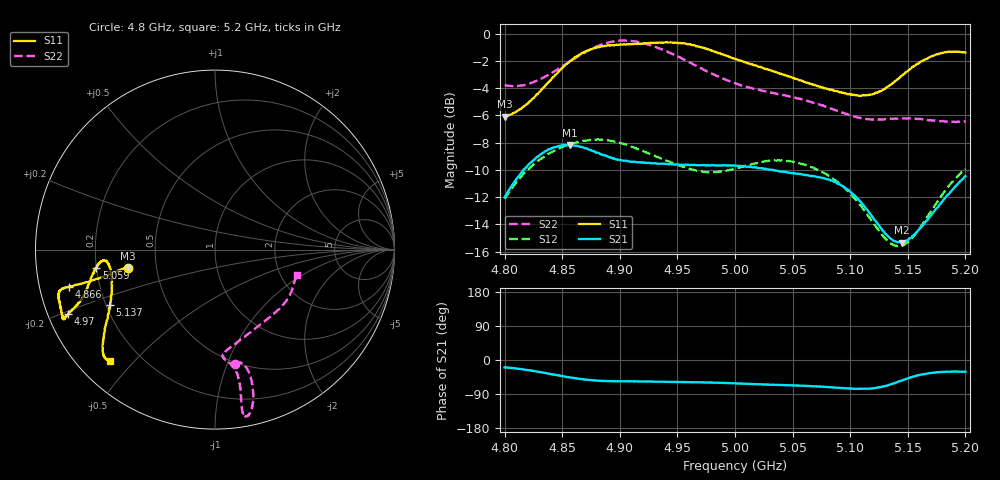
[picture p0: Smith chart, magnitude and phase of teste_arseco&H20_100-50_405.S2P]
! Network Analyzer HP8722D
! Hewlett-Packard
! Data name: Linha & Wilkinson
! Saver's name: Rodrigo Anjos
! Comments: Teste da utilização de aquisição
! continua pelo VNA HP8722D
! Time and date: 6/5/2025 15:56
!  Frequency  S11  S21  S12  S22
# HZ  S  MA R 50
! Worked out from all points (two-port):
!   401 points, 4.8 GHz to 5.2 GHz, reference 50 ohm
!   highest |S21| = -8.17 dB at 4.857 GHz (marker M1); lowest = -15.3 dB at 5.145 GHz (marker M2)
!   |S21| within 3 dB of the highest: 4.806 GHz to 5.093 GHz (286.7 MHz wide, 5.79 % of centre); 5.191866 GHz to end of sweep
!   lowest |S11| = -6.1 dB at 4.8 GHz (marker M3), VSWR 2.97, Z = 17 - j4.61 ohm
!   |S11| at or under -10 dB: nowhere
!   |S22| runs from -6.5 to -0.5 dB; largest |S21 - S12| = 0.62
!   S11 on the Smith chart (normalised r, x): 4.8 GHz: 0.34, -0.09; 4.866 GHz: 0.09, -0.12; 4.97 GHz: 0.06, -0.21; 5.059 GHz: 0.20, -0.07; 5.137 GHz: 0.22, -0.24; 5.2 GHz: 0.09, -0.43
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4.8e9  0.4958 -168.1  0.2506 -19.5  0.2478 -140.7  0.6466 -80.2
4.828e9  0.5993 -167.0  0.3529 -30.3  0.3387 -144.6  0.6736 -75.4
4.857e9  0.7951 -165.7  0.3904 -46.1  0.3929 -150.0  0.7924 -74.6
4.866e9  0.8423 -165.7  0.3841 -50.1  0.4027 -151.6  0.8364 -75.2
4.867e9  0.8487 -165.8  0.3841 -50.6  0.403 -151.8  0.8417 -75.3
4.883e9  0.8958 -164.9  0.362 -54.8  0.4085 -154.5  0.9101 -77.0
4.9e9  0.9141 -162.6  0.3437 -56.1  0.3971 -156.4  0.945 -79.1
4.934e9  0.9301 -156.2  0.3329 -57.4  0.3515 -155.6  0.8836 -80.4
4.951e9  0.9241 -155.3  0.3306 -58.0  0.3288 -152.4  0.8236 -79.8
4.97e9  0.8941 -156.3  0.3288 -59.1  0.3124 -146.8  0.7484 -79.6
5e9  0.809 -158.8  0.3275 -61.6  0.3196 -137.1  0.658 -81.3
5.032e9  0.7317 -164.4  0.3161 -65.4  0.3426 -134.1  0.6069 -85.3
5.059e9  0.669 -171.4  0.304 -68.0  0.3318 -135.8  0.5728 -84.3
5.067e9  0.6533 -172.9  0.3008 -68.9  0.3232 -136.6  0.5599 -82.6
5.086e9  0.6175 -174.4  0.2856 -72.6  0.2917 -138.2  0.5267 -75.2
5.103e9  0.597 -171.4  0.2562 -76.0  0.2512 -138.6  0.4976 -65.3
5.117e9  0.5969 -164.8  0.219 -75.6  0.2106 -135.0  0.4857 -55.2
5.134e9  0.6452 -154.2  0.1784 -65.3  0.1707 -121.0  0.487 -43.4
5.137e9  0.6591 -152.3  0.1741 -62.5  0.168 -117.1  0.4878 -41.6
5.145e9  0.7023 -148.1  0.1709 -53.6  0.1669 -106.3  0.4891 -37.0
5.174e9  0.8384 -138.2  0.2257 -32.8  0.2359 -80.2  0.4798 -23.8
5.2e9  0.8533 -133.5  0.2999 -31.1  0.3186 -76.8  0.4762 -17.5
